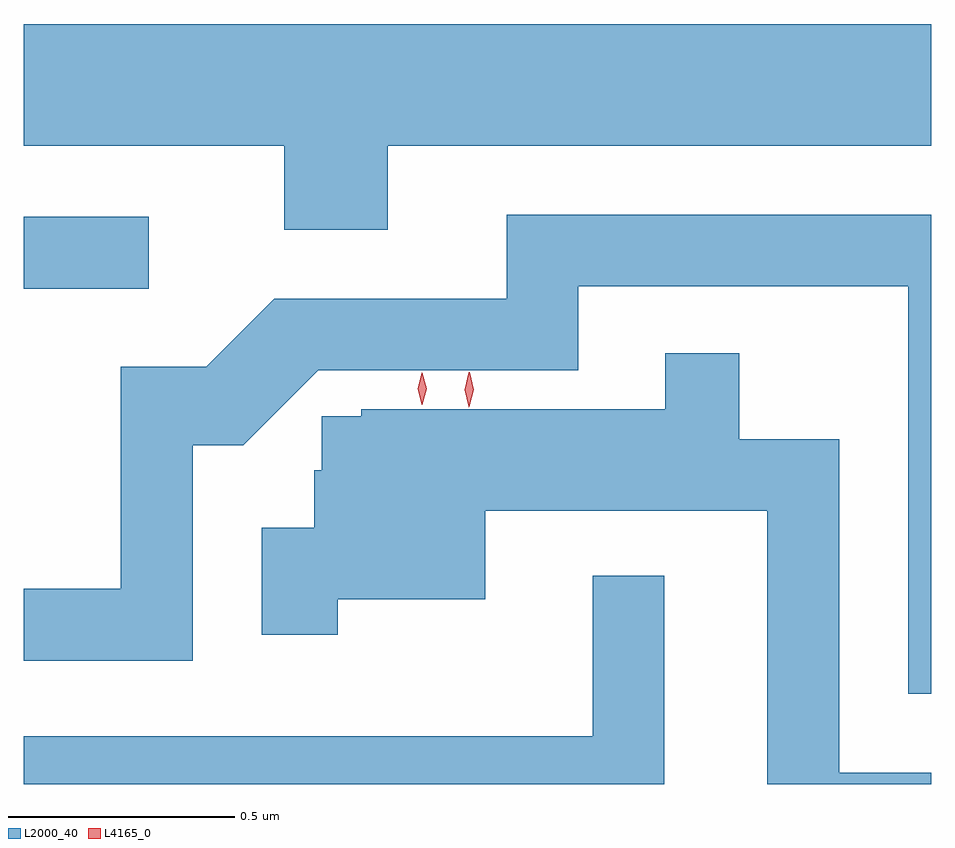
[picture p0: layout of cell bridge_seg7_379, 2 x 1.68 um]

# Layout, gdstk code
import gdstk
lib = gdstk.Library(unit=1e-6, precision=1e-09)
def R(c, l, rs):  # rectangles x0, y0, x1, y1
    for r in rs: c.add(gdstk.rectangle(r[:2], r[2:], *l))
def P(c, l, *ps):  # polygons
    for p in ps: c.add(gdstk.Polygon(p, *l))
L2000_40 = (2000, 40)
L4165_0 = (4165, 0)

bridge_seg7_379 = lib.new_cell('bridge_seg7_379')
R(bridge_seg7_379, L2000_40, [(1108.637,1765.061,1108.913,1765.219)])
P(bridge_seg7_379, L2000_40, [(1109.439,1765.376),(1110.637,1765.376),(1110.637,1765.644),(1108.637,1765.644),(1108.637,1765.376),(1109.211,1765.376),(1109.211,1765.191),(1109.439,1765.191)],
  [(1110.637,1765.224),(1109.701,1765.224),(1109.701,1765.039),(1109.189,1765.039),(1109.039,1764.889),(1108.851,1764.889),(1108.851,1764.399),(1108.637,1764.399),(1108.637,1764.241),(1109.009,1764.241),(1109.009,1764.716),(1109.121,1764.716),(1109.286,1764.881),(1109.859,1764.881),(1109.859,1765.066),(1110.586,1765.066),(1110.586,1764.168),(1110.637,1764.168)],
  [(1110.637,1763.994),(1110.434,1763.994),(1110.434,1764.729),(1110.214,1764.729),(1110.214,1764.918),(1110.051,1764.918),(1110.051,1764.795),(1109.381,1764.795),(1109.381,1764.779),(1109.294,1764.779),(1109.294,1764.661),(1109.277,1764.661),(1109.277,1764.534),(1109.161,1764.534),(1109.161,1764.298),(1109.329,1764.298),(1109.329,1764.376),(1109.654,1764.376),(1109.654,1764.571),(1110.276,1764.571),(1110.276,1763.969),(1110.637,1763.969)],
  [(1110.049,1764.428),(1109.891,1764.428),(1109.891,1764.074),(1108.637,1764.074),(1108.637,1763.969),(1110.049,1763.969)])
P(bridge_seg7_379, L4165_0, [(1109.514,1764.805),(1109.505,1764.84),(1109.514,1764.875),(1109.515,1764.875),(1109.515,1764.875),(1109.525,1764.84),(1109.515,1764.805),(1109.515,1764.805)],
  [(1109.618,1764.799),(1109.618,1764.8),(1109.609,1764.838),(1109.618,1764.876),(1109.619,1764.877),(1109.62,1764.876),(1109.629,1764.838),(1109.619,1764.8)])

lib.write_gds('bridge_seg7_379.gds')
